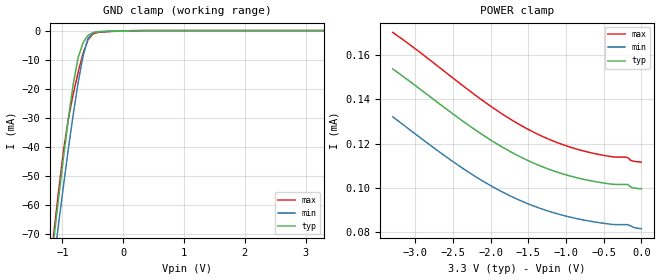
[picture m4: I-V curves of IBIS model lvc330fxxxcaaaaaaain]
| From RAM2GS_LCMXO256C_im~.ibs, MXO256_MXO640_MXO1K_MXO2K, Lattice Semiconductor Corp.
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[Model]   lvc330fxxxcaaaaaaain
Model_type   Input
Polarity   Non-Inverting
Enable   Active-Low
Vinl =   0.800000V
Vinh =   2.000000V
C_comp   2.68pF   2.54pF   2.92pF
[Temperature Range]   25.000000   0.105000k   -40.000000
[Voltage Range]   3.300000V   3.140000V   3.470000V
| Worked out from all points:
|   GND clamp passes 1 mA (typ) near -0.53 V on its own axis
[GND_clamp]
|Voltage   I(typ)   I(min)   I(max)
-3.3V     -966.2mA   -950.5mA   -981.2mA
-1.14V    -71.68mA   -79.64mA   -69.61mA
-1.06V    -57.24mA   -66.15mA   -54.75mA
-980mV    -43.25mA   -53.03mA   -41.07mA
-900mV    -29.98mA   -40.42mA   -30.04mA
-820mV    -18.09mA   -28.53mA   -21.59mA
-740mV    -9.103mA   -17.71mA   -14.14mA
-660mV    -4.031mA   -8.633mA   -7.727mA
-580mV    -1.542mA   -2.681mA   -3.137mA
-500mV    -637.9uA   -641.6uA   -1.05mA
140mV     58.13uA    42.11uA    72.31uA
3.3V      99.67uA    83.57uA    111.3uA
[POWER_clamp]
|Voltage   I(typ)   I(min)   I(max)
-3.3V     153.7uA    132.1uA    170.2uA
-2.66V    137.5uA    115.8uA    153.8uA
-2.26V    127.5uA    106.4uA    143.3uA
-1.9V     119.6uA    99.22uA    134.6uA
-1.54V    113uA      93.41uA    127.2uA
-1.22V    108.4uA    89.46uA    121.9uA
-900mV    105uA      86.55uA    118uA
-460mV    102.1uA    83.93uA    114.5uA
-180mV    101.6uA    83.51uA    113.8uA
-140mV    100.5uA    82.92uA    112.4uA
-100mV    100uA      82.24uA    112uA
0V        99.67uA    81.69uA    111.7uA
